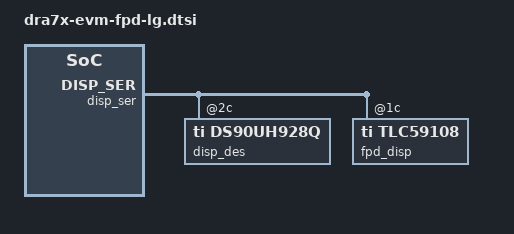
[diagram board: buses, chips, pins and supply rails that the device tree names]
/*
 * Copyright (C) 2017 Texas Instruments Incorporated - http://www.ti.com/
 *
 * This program is free software; you can redistribute it and/or modify
 * it under the terms of the GNU General Public License version 2 as
 * published by the Free Software Foundation.
 */

#include <dt-bindings/gpio/gpio.h>


/ {
	lcd_fpd: display_fpd {
		/*
		* This is not really a dpi panel, but panel-dpi driver
		* works as dummy panel driver.
		*/
		compatible = "lg,lp101wx2", "panel-dpi";

		label = "lcd_fpd";
		status = "disabled";

		panel-timing {
			clock-frequency = <69300404>;
			hactive = <1280>;
			vactive = <800>;

			hfront-porch = <48>;
			hback-porch = <44>;
			hsync-len = <32>;

			vfront-porch = <4>;
			vback-porch = <7>;
			vsync-len = <12>;

			hsync-active = <0>;
			vsync-active = <0>;
			de-active = <1>;
			pixelclk-active = <0>;
		};

		port {
			fpd_in: endpoint {
			};
		};
	};
};

&disp_ser {
	disp_des: deserializer@2c {
		compatible = "ti,ds90uh928q";
		reg = <0x2c>;
		slave-mode;
	};
	fpd_disp: tlc59108@1c {
		compatible = "ti,tlc59108";
		reg = <0x1c>;
	};
};
